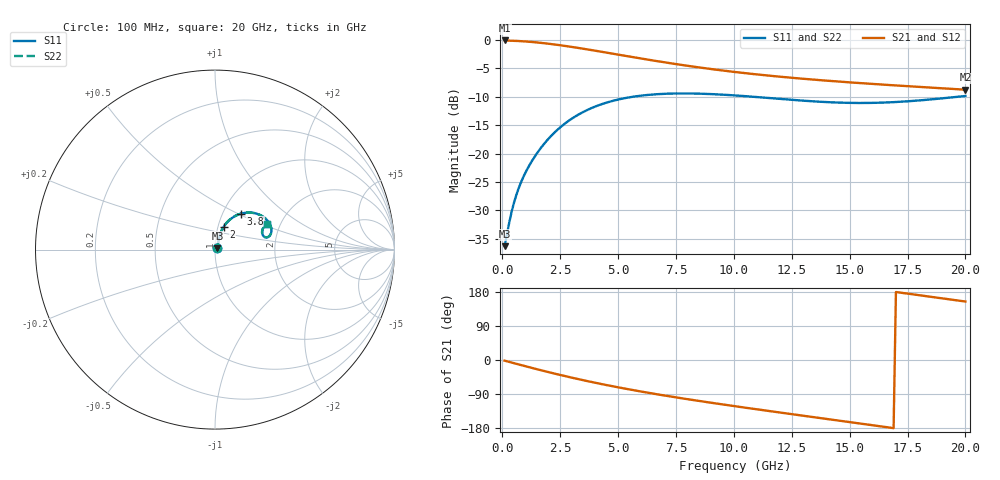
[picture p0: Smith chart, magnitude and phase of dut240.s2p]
! Touchstone file exported from HFSS 2024.1.0
!  File:  C:/UserFiles/LocalFiles/RDL_TSV_Batchsim/temp_RDL_TSV_240_1779453697.aedt
!  Generated:  08:58:17 PM May 22, 2026
!  Design:  RDL_TSV
!  Project:  temp_RDL_TSV_240_1779453697
!  Setup:  Setup1
!  Solution:  Sweep
! Variables:
!  dtsv = 6.38um
!  hbump = 3um
!  htsv = 52.66um
!  ldown = 515.51um
!  lrdl = 435.87um
!  p = 40
!  p1 = 52.26um
!  rhole = 10um
!  subl = 3290.01um
!  t = 450um
!  tdown = 4.76um
!  trdl = 3.3um
!  viad = 10um
!  wdown = 19.7um
!  wrdl = 23.76um
!  xbump = 18um
# GHz S MA R 50.000000
! Terminal data exported
! Port[1] = TM1_1_T1
! Port[2] = TM1_4_T1
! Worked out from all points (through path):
!   200 points, 100 MHz to 20 GHz, reference 50 ohm
!   highest |S21| = -0.15 dB at 100 MHz (marker M1); lowest = -8.8 dB at 20 GHz (marker M2)
!   group delay of S21, straight-line fit = 27 ps
!   lowest |S11| = -36.3 dB at 100 MHz (marker M3), VSWR 1.03, Z = 51.4 + j0.683 ohm
!   |S11| at or under -10 dB: start of sweep to 5.693 GHz; 10.73 GHz to 19.76 GHz (9.034 GHz wide, 59.2 % of centre)
!   |S22| runs from -36.3 to -9.5 dB; largest |S21 - S12| = 1.5e-14
!   S11 on the Smith chart (normalised r, x): 100 MHz: 1.03, +0.01; 2 GHz: 1.06, +0.27; 3.8 GHz: 1.22, +0.52; 20 GHz: 1.70, +0.53
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0.1  0.01535 25.6  0.9834 -1.7  0.9834 -1.7  0.01528 25.4
! Gamma 0 0 0 0
! Port Impedance 50 0 50 0
0.4  0.03057 59.5  0.9784 -6.7  0.9784 -6.7  0.0302 59.3
0.6  0.04286 65.8  0.9745 -10.0  0.9745 -10.0  0.04229 65.8
0.8  0.05533 68.7  0.9696 -13.2  0.9696 -13.2  0.0546 68.8
1  0.06789 70.2  0.9637 -16.5  0.9637 -16.5  0.06703 70.4
1.3  0.08722 71.1  0.953 -21.3  0.953 -21.3  0.08624 71.4
2  0.1352 69.2  0.9206 -32.1  0.9206 -32.1  0.1342 69.6
2.7  0.183 64.0  0.8812 -42.3  0.8812 -42.3  0.1822 64.4
3.5  0.2318 56.7  0.8319 -53.4  0.8319 -53.4  0.2313 57.1
3.8  0.2479 53.9  0.813 -57.3  0.813 -57.3  0.2474 54.2
4.4  0.2757 48.4  0.7755 -64.9  0.7755 -64.9  0.2754 48.7
5.1  0.3008 42.3  0.7331 -73.3  0.7331 -73.3  0.3006 42.5
5.9  0.3205 36.0  0.6878 -82.2  0.6878 -82.2  0.3203 36.2
6.8  0.3328 29.9  0.6418 -91.7  0.6418 -91.7  0.3326 30.0
8.4  0.3358 21.4  0.5736 -107.2  0.5736 -107.2  0.3356 21.5
10.1  0.3231 15.7  0.5183 -122.4  0.5183 -122.4  0.3228 15.8
11.7  0.305 13.4  0.4787 -136.1  0.4787 -136.1  0.3048 13.4
13.4  0.2873 14.0  0.4461 -150.5  0.4461 -150.5  0.2871 14.0
15  0.2783 16.8  0.4215 -163.9  0.4215 -163.9  0.2781 16.9
16.7  0.2813 21.0  0.3995 -178.1  0.3995 -178.1  0.2811 21.0
18.3  0.2959 24.3  0.3812 168.5  0.3812 168.5  0.2957 24.3
20  0.3198 26.0  0.3635 154.3  0.3635 154.3  0.3196 26.0
